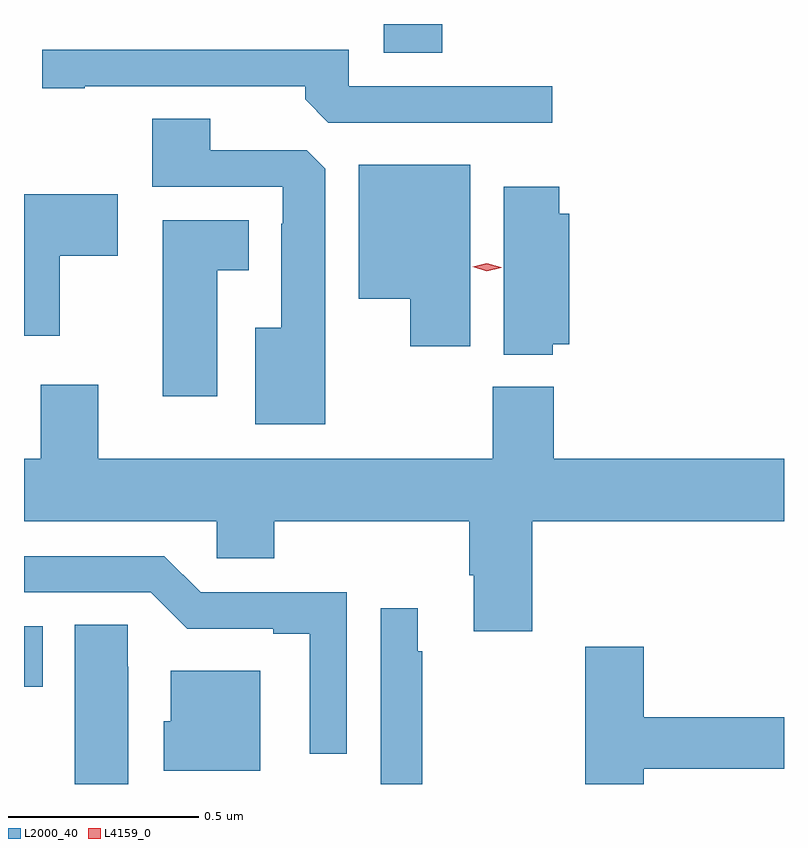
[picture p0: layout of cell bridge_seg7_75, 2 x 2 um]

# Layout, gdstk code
import gdstk
lib = gdstk.Library(unit=1e-6, precision=1e-09)
def R(c, l, rs):  # rectangles x0, y0, x1, y1
    for r in rs: c.add(gdstk.rectangle(r[:2], r[2:], *l))
def P(c, l, *ps):  # polygons
    for p in ps: c.add(gdstk.Polygon(p, *l))
L2000_40 = (2000, 40)
L4159_0 = (4159, 0)

bridge_seg7_75 = lib.new_cell('bridge_seg7_75')
R(bridge_seg7_75, L2000_40, [(1082.946,1030.816,1082.995,1030.975), (1083.893,1032.485,1084.046,1032.56)])
P(bridge_seg7_75, L2000_40, [(1084.336,1032.396),(1083.801,1032.396),(1083.801,1032.492),(1082.994,1032.492),(1082.994,1032.391),(1083.106,1032.391),(1083.106,1032.396),(1083.686,1032.396),(1083.686,1032.362),(1083.747,1032.3),(1084.336,1032.3)],
  [(1083.739,1032.179),(1083.69,1032.228),(1083.436,1032.228),(1083.436,1032.311),(1083.284,1032.311),(1083.284,1032.132),(1083.627,1032.132),(1083.627,1032.035),(1083.623,1032.035),(1083.623,1031.761),(1083.554,1031.761),(1083.554,1031.507),(1083.739,1031.507)],
  [(1084.12,1032.19),(1083.827,1032.19),(1083.827,1031.837),(1083.962,1031.837),(1083.962,1031.712),(1084.12,1031.712)],
  [(1084.338,1031.717),(1084.381,1031.717),(1084.381,1032.061),(1084.355,1032.061),(1084.355,1032.132),(1084.208,1032.132),(1084.208,1031.69),(1084.338,1031.69)],
  [(1083.04,1031.95),(1083.193,1031.95),(1083.193,1032.112),(1082.946,1032.112),(1082.946,1031.739),(1083.04,1031.739)],
  [(1083.454,1031.912),(1083.538,1031.912),(1083.538,1032.043),(1083.311,1032.043),(1083.311,1031.58),(1083.454,1031.58)],
  [(1084.283,1031.252),(1084.946,1031.252),(1084.946,1031.416),(1084.34,1031.416),(1084.34,1031.605),(1084.18,1031.605),(1084.18,1031.416),(1083.142,1031.416),(1083.142,1031.611),(1082.99,1031.611),(1082.99,1031.416),(1082.946,1031.416),(1082.946,1031.252),(1083.453,1031.252),(1083.453,1031.154),(1083.605,1031.154),(1083.605,1031.252),(1084.118,1031.252),(1084.118,1031.11),(1084.13,1031.11),(1084.13,1030.962),(1084.283,1030.962)],
  [(1083.795,1031.064),(1083.411,1031.064),(1083.315,1031.16),(1082.946,1031.16),(1082.946,1031.064),(1083.279,1031.064),(1083.375,1030.968),(1083.602,1030.968),(1083.602,1030.956),(1083.698,1030.956),(1083.698,1030.64),(1083.795,1030.64)],
  [(1083.994,1030.91),(1083.982,1030.91),(1083.982,1031.023),(1083.885,1031.023),(1083.885,1030.56),(1083.994,1030.56)],
  [(1083.22,1030.868),(1083.219,1030.868),(1083.219,1030.979),(1083.08,1030.979),(1083.08,1030.56),(1083.22,1030.56)],
  [(1084.577,1030.6),(1084.946,1030.6),(1084.946,1030.736),(1084.577,1030.736),(1084.577,1030.921),(1084.423,1030.921),(1084.423,1030.56),(1084.577,1030.56)],
  [(1083.568,1030.858),(1083.332,1030.858),(1083.332,1030.725),(1083.314,1030.725),(1083.314,1030.595),(1083.568,1030.595)])
P(bridge_seg7_75, L4159_0, [(1084.164,1031.91),(1084.127,1031.921),(1084.126,1031.921),(1084.127,1031.921),(1084.164,1031.93),(1084.202,1031.92),(1084.202,1031.919),(1084.202,1031.919)])

lib.write_gds('bridge_seg7_75.gds')
